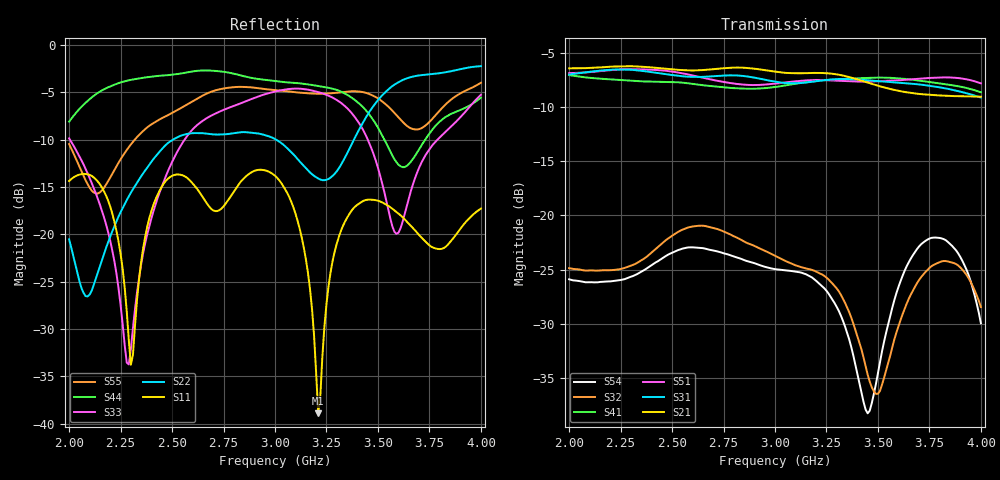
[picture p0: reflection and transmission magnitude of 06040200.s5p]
! Created with skrf 1.8.0 (http://scikit-rf.org).
# Hz S RI R 50.0
!freq ReS11 ImS11 ReS12 ImS12 ReS13 ImS13
! ReS14 ImS14 ReS15 ImS15
! ReS21 ImS21 ReS22 ImS22 ReS23 ImS23
! ReS24 ImS24 ReS25 ImS25
! ReS31 ImS31 ReS32 ImS32 ReS33 ImS33
! ReS34 ImS34 ReS35 ImS35
! ReS41 ImS41 ReS42 ImS42 ReS43 ImS43
! ReS44 ImS44 ReS45 ImS45
! ReS51 ImS51 ReS52 ImS52 ReS53 ImS53
! ReS54 ImS54 ReS55 ImS55
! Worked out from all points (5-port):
!   201 points, 2 GHz to 4 GHz, reference 50 ohm
!   strongest paths, dB at 2 GHz, 2.5 GHz, 3 GHz, 3.5 GHz, 4 GHz:
!     S21: -6.4, -6.5, -6.7, -8.1, -9.1
!     S31: -7.0, -7.1, -7.7, -7.6, -9.1
!     S51: -6.9, -6.7, -7.9, -7.6, -7.8
!     S41: -7.1, -7.7, -8.2, -7.3, -8.7
!     S32: -24.9, -21.9, -23.7, -36.4, -28.4
!     S54: -25.9, -23.4, -25.0, -34.5, -29.9
!   lowest |S11| = -38.9 dB at 3.21 GHz (marker M1), VSWR 1.02, Z = 49.5 + j1.03 ohm
!   |S11| at or under -10 dB: start of sweep to end of sweep
